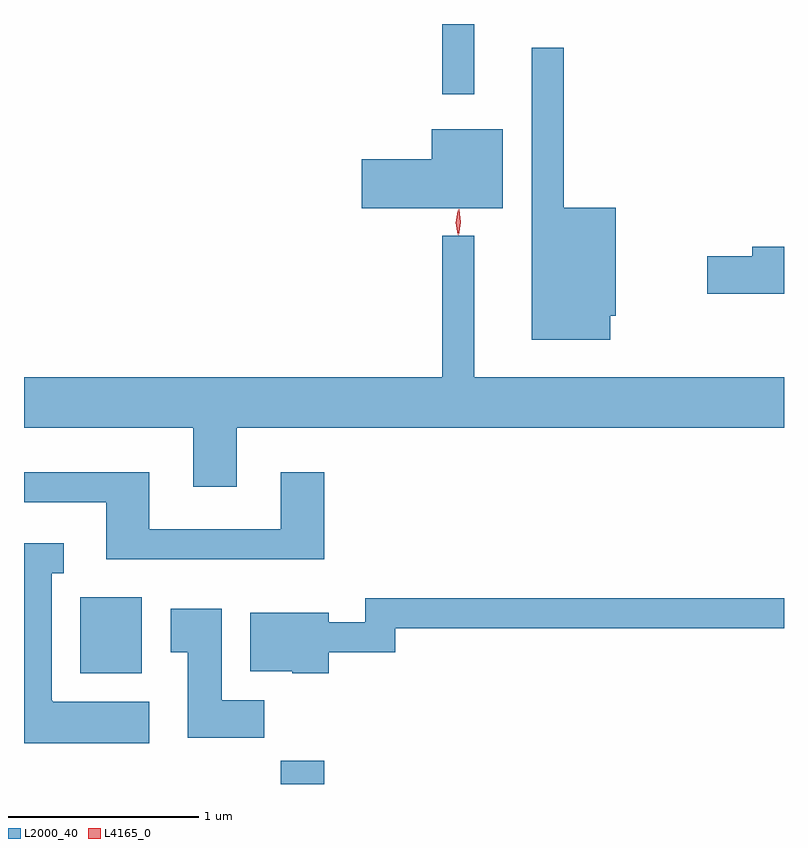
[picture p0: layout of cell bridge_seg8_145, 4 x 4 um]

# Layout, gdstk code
import gdstk
lib = gdstk.Library(unit=1e-6, precision=1e-09)
def R(c, l, rs):  # rectangles x0, y0, x1, y1
    for r in rs: c.add(gdstk.rectangle(r[:2], r[2:], *l))
def P(c, l, *ps):  # polygons
    for p in ps: c.add(gdstk.Polygon(p, *l))
L2000_40 = (2000, 40)
L4165_0 = (4165, 0)

bridge_seg8_145 = lib.new_cell('bridge_seg8_145')
R(bridge_seg8_145, L2000_40, [(1798.101,1841.202,1798.329,1841.324), (1797.046,1841.786,1797.369,1842.184), (1798.951,1844.833,1799.119,1845.202)])
P(bridge_seg8_145, L2000_40, [(1799.834,1843.666),(1799.864,1843.666),(1799.864,1844.234),(1799.589,1844.234),(1799.589,1845.078),(1799.421,1845.078),(1799.421,1843.541),(1799.834,1843.541)],
  [(1799.269,1844.649),(1798.896,1844.649),(1798.896,1844.489),(1798.526,1844.489),(1798.526,1844.231),(1799.269,1844.231)],
  [(1797.869,1843.076),(1800.749,1843.076),(1800.749,1843.344),(1799.119,1843.344),(1799.119,1844.088),(1798.951,1844.088),(1798.951,1843.344),(1796.749,1843.344),(1796.749,1843.076),(1797.641,1843.076),(1797.641,1842.766),(1797.869,1842.766)],
  [(1800.749,1844.029),(1800.581,1844.029),(1800.581,1843.979),(1800.346,1843.979),(1800.346,1843.781),(1800.749,1843.781)],
  [(1798.329,1842.844),(1798.101,1842.844),(1798.101,1842.544),(1797.409,1842.544),(1797.409,1842.844),(1796.749,1842.844),(1796.749,1842.686),(1797.181,1842.686),(1797.181,1842.386),(1798.329,1842.386)],
  [(1797.409,1841.634),(1796.9,1841.634),(1796.9,1841.64),(1796.894,1841.64),(1796.894,1842.311),(1796.958,1842.311),(1796.958,1842.469),(1796.749,1842.469),(1796.749,1841.416),(1797.409,1841.416)],
  [(1798.354,1841.896),(1798.704,1841.896),(1798.704,1842.021),(1800.749,1842.021),(1800.749,1842.179),(1798.546,1842.179),(1798.546,1842.054),(1798.354,1842.054),(1798.354,1842.104),(1797.941,1842.104),(1797.941,1841.796),(1798.16,1841.796),(1798.16,1841.786),(1798.354,1841.786)],
  [(1798.014,1841.644),(1797.789,1841.644),(1797.789,1842.124),(1797.521,1842.124),(1797.521,1841.896),(1797.611,1841.896),(1797.611,1841.446),(1798.014,1841.446)])
P(bridge_seg8_145, L4165_0, [(1799.032,1844.093),(1799.032,1844.093),(1799.022,1844.156),(1799.032,1844.219),(1799.032,1844.22),(1799.033,1844.219),(1799.042,1844.156),(1799.033,1844.093)],
  [(1799.036,1844.09),(1799.028,1844.158),(1799.038,1844.226),(1799.038,1844.226),(1799.039,1844.226),(1799.048,1844.158),(1799.038,1844.09),(1799.037,1844.09)])

lib.write_gds('bridge_seg8_145.gds')
